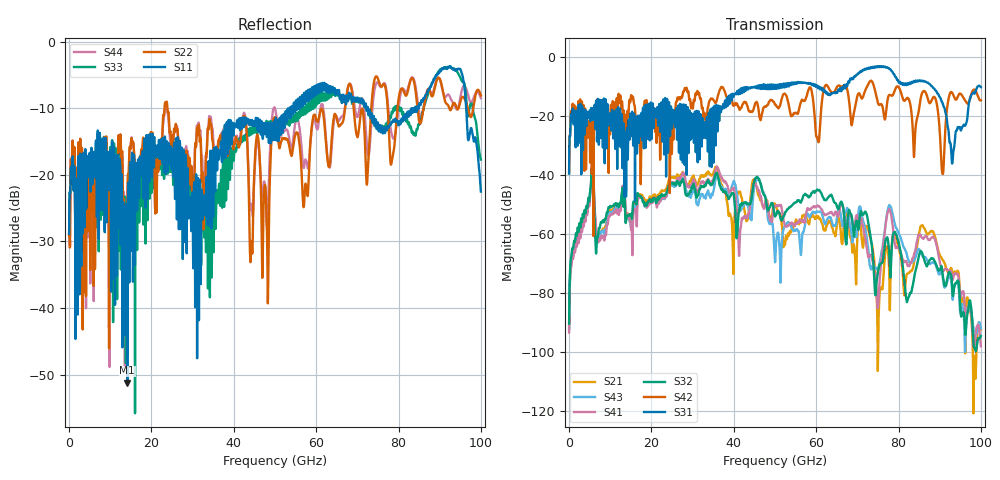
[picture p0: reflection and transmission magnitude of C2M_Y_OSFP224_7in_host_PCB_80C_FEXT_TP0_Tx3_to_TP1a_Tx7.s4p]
# GHz S RI R 45
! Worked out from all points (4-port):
!   4000 points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, 25 MHz to 100 GHz, reference 45 ohm
!   strongest paths, dB at 25 MHz, 25.02 GHz, 50.02 GHz, 75.03 GHz, 100 GHz:
!     S31: -39.5, -23.0, -10.5, -3.3, -10.1
!     S42: -38.9, -28.8, -16.1, -15.6, -14.6
!     S32: -90.4, -42.6, -54.0, -72.5, -94.6
!     S41: -93.3, -42.3, -50.3, -84.7, -98.0
!     S43: -92.5, -43.5, -69.5, -71.3, -92.0
!     S21: -91.9, -40.6, -49.9, -99.1, -92.4
!   lowest |S11| = -51.2 dB at 14.15 GHz (marker M1), VSWR 1.01, Z = 45.1 - j0.242 ohm
!   |S11| at or under -10 dB: start of sweep to 53.54 GHz; 72.58 GHz to 83.15 GHz (10.57 GHz wide, 13.6 % of centre); 96.44 GHz to end of sweep (the widest 3 of 13)
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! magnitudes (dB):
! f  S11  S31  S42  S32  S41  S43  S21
! 25 MHz  -28.9  -39.5  -38.9  -90.4  -93.3  -92.5  -91.9
! 5.55 GHz  -17.6  -20.1  -39.6  -39.2  -39.4  -39.3  -39.2
! 14.15 GHz  -51.2  -25.0  -18.6  -53.9  -53.2  -54.2  -52.9
! 60.5 GHz  -6.4  -10.3  -28.6  -45.1  -50.5  -52.4  -54.0
! 90.67 GHz  -4.1  -15.4  -39.5  -73.2  -72.4  -74.2  -68.7
! 93.12 GHz  -4.1  -35.2  -12.3  -80.4  -75.6  -82.1  -74.2
! 100 GHz  -22.5  -10.1  -14.6  -94.6  -98.0  -92.0  -92.4
